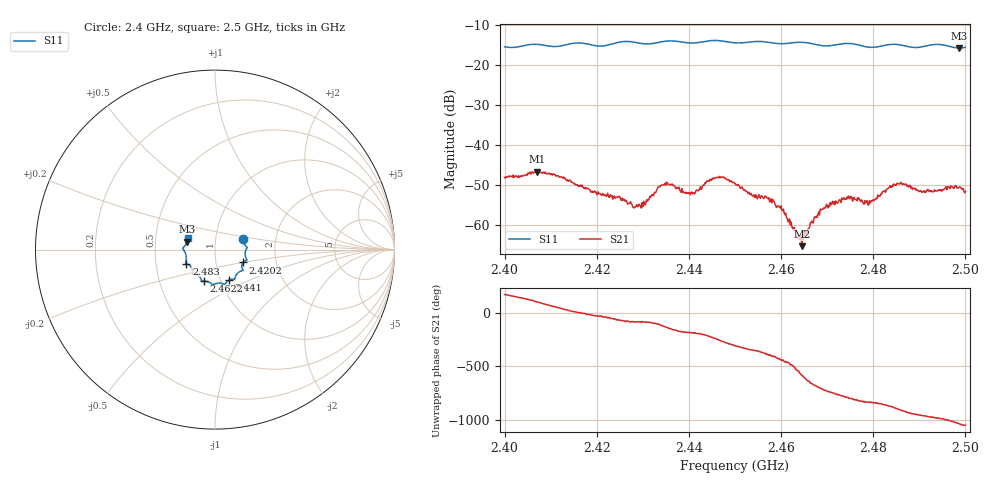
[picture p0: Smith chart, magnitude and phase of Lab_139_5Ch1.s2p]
# Hz S RI R 50
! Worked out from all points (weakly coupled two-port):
!   601 points, 2.4 GHz to 2.5 GHz, reference 50 ohm
!   highest |S21| = -46.57 dB at 2.407 GHz (marker M1); lowest = -65.2 dB at 2.4645 GHz (marker M2)
!   lowest |S11| = -15.8 dB at 2.4987 GHz (marker M3), VSWR 1.39, Z = 36.4 + j3.27 ohm
!   |S11| at or under -10 dB: start of sweep to end of sweep
!   S12 and S22 are empty: the file has one direction only
!   S11 on the Smith chart (normalised r, x): 2.4 GHz: 1.36, +0.17; 2.4202 GHz: 1.35, -0.20; 2.441 GHz: 1.10, -0.39; 2.4622 GHz: 0.83, -0.30; 2.483 GHz: 0.72, -0.12; 2.5 GHz: 0.73, +0.09
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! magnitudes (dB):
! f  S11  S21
! 2.4 GHz  -15.5  -48.1
! 2.407 GHz  -14.9  -46.6
! 2.4167 GHz  -14.6  -50.3
! 2.4202 GHz  -15.3  -52.1
! 2.4283 GHz  -14.4  -55.5
! 2.4333 GHz  -14.4  -50.4
! 2.4353 GHz  -14.1  -49.5
! 2.441 GHz  -14.6  -51.8
! 2.4458 GHz  -13.9  -48.2
! 2.45 GHz  -14.5  -49.5
! 2.4582 GHz  -14.5  -53.5
! 2.4622 GHz  -14.5  -59.1
! 2.4645 GHz  -14.4  -65.2
! 2.4667 GHz  -14.7  -58.9
! 2.471 GHz  -15.2  -54.6
! 2.4748 GHz  -14.7  -53.3
! 2.4793 GHz  -15.6  -54.4
! 2.483 GHz  -15.0  -50.9
! 2.4833 GHz  -15.0  -50.7
! 2.4857 GHz  -15.0  -49.7
! 2.4987 GHz  -15.8  -50.5
! 2.5 GHz  -15.6  -51.5
